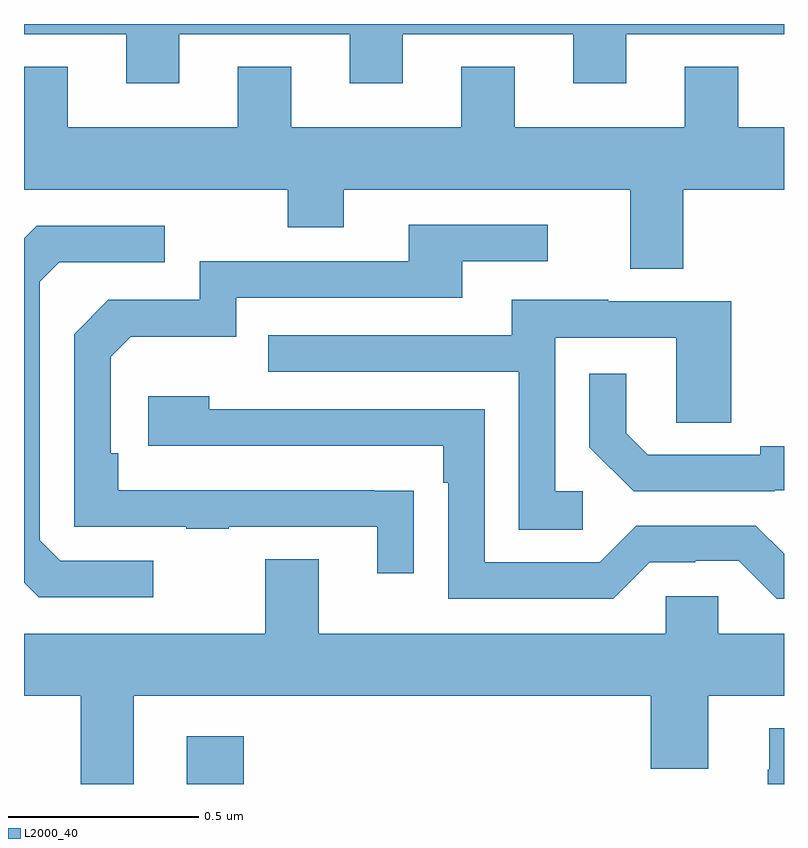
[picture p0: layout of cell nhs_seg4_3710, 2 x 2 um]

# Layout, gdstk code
import gdstk
lib = gdstk.Library(unit=1e-6, precision=1e-09)
def R(c, l, rs):  # rectangles x0, y0, x1, y1
    for r in rs: c.add(gdstk.rectangle(r[:2], r[2:], *l))
def P(c, l, *ps):  # polygons
    for p in ps: c.add(gdstk.Polygon(p, *l))
L2000_40 = (2000, 40)

nhs_seg4_3710 = lib.new_cell('nhs_seg4_3710')
R(nhs_seg4_3710, L2000_40, [(156.428,817.9,156.578,818.026)])
P(nhs_seg4_3710, L2000_40, [(156.409,819.873),(156.857,819.873),(156.857,819.744),(156.997,819.744),(156.997,819.873),(157.445,819.873),(157.445,819.744),(157.585,819.744),(157.585,819.873),(158,819.873),(158,819.9),(156,819.9),(156,819.873),(156.269,819.873),(156.269,819.744),(156.409,819.744)],
  [(157.735,819.464),(158,819.464),(158,819.628),(157.879,819.628),(157.879,819.788),(157.739,819.788),(157.739,819.628),(157.291,819.628),(157.291,819.788),(157.151,819.788),(157.151,819.628),(156.703,819.628),(156.703,819.788),(156.563,819.788),(156.563,819.628),(156.115,819.628),(156.115,819.788),(156,819.788),(156,819.464),(156.694,819.464),(156.694,819.365),(156.841,819.365),(156.841,819.464),(157.595,819.464),(157.595,819.256),(157.735,819.256)],
  [(157.025,818.672),(156.923,818.672),(156.923,818.673),(156.248,818.673),(156.248,818.77),(156.228,818.77),(156.228,819.024),(156.281,819.077),(156.558,819.077),(156.558,819.18),(157.153,819.18),(157.153,819.276),(157.378,819.276),(157.378,819.372),(157.013,819.372),(157.013,819.276),(156.462,819.276),(156.462,819.174),(156.222,819.174),(156.132,819.084),(156.132,818.577),(156.427,818.577),(156.427,818.572),(156.539,818.572),(156.539,818.577),(156.929,818.577),(156.929,818.454),(157.025,818.454)],
  [(156.34,818.487),(156.096,818.487),(156.042,818.541),(156.042,819.222),(156.093,819.273),(156.37,819.273),(156.37,819.369),(156.033,819.369),(156,819.336),(156,818.43),(156.039,818.391),(156.34,818.391)],
  [(157.471,818.67),(157.398,818.67),(157.398,819.075),(157.716,819.075),(157.716,818.851),(157.861,818.851),(157.861,819.171),(157.537,819.171),(157.537,819.175),(157.283,819.175),(157.283,819.081),(156.643,819.081),(156.643,818.985),(157.302,818.985),(157.302,818.569),(157.471,818.569)],
  [(157.976,818.673),(158,818.673),(158,818.789),(157.937,818.789),(157.937,818.766),(157.642,818.766),(157.585,818.823),(157.585,818.98),(157.488,818.98),(157.488,818.786),(157.604,818.67),(157.976,818.67)],
  [(158,818.506),(157.926,818.58),(157.611,818.58),(157.515,818.484),(157.212,818.484),(157.212,818.886),(156.488,818.886),(156.488,818.92),(156.327,818.92),(156.327,818.79),(157.103,818.79),(157.103,818.693),(157.116,818.693),(157.116,818.388),(157.551,818.388),(157.647,818.484),(157.766,818.484),(157.766,818.487),(157.881,818.487),(157.981,818.387),(158,818.387)],
  [(156.289,818.132),(157.649,818.132),(157.649,817.94),(157.801,817.94),(157.801,818.132),(158,818.132),(158,818.296),(157.827,818.296),(157.827,818.394),(157.689,818.394),(157.689,818.296),(156.775,818.296),(156.775,818.491),(156.635,818.491),(156.635,818.296),(156,818.296),(156,818.132),(156.149,818.132),(156.149,817.9),(156.289,817.9)],
  [(158,818.047),(157.961,818.047),(157.961,817.937),(157.957,817.937),(157.957,817.9),(158,817.9)])

lib.write_gds('nhs_seg4_3710.gds')
